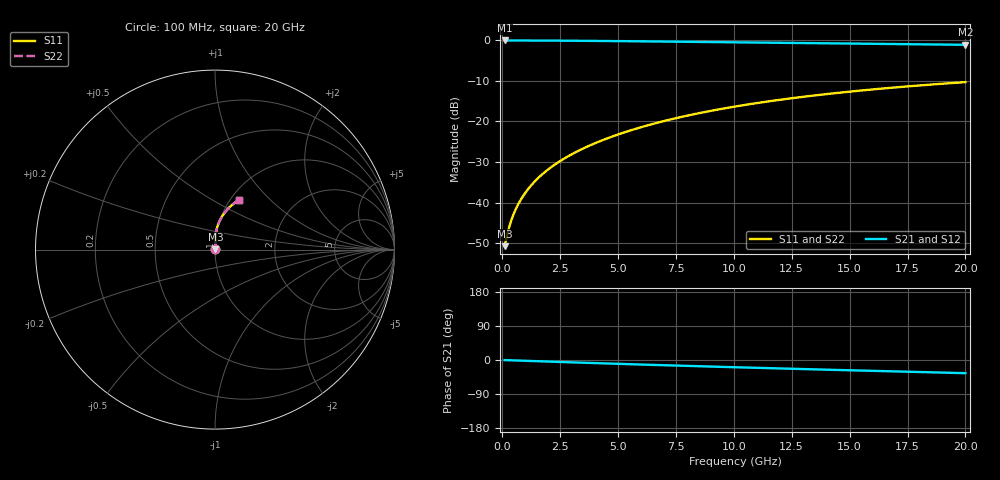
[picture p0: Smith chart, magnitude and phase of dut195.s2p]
! Touchstone file exported from HFSS 2024.1.0
!  File:  C:/UserFiles/LocalFiles/RDL_TSV_Batchsim/temp_RDL_bottom_195_1778699319.aedt
!  Generated:  03:11:25 AM May 14, 2026
!  Design:  RDL_bottom
!  Project:  temp_RDL_bottom_195_1778699319
!  Setup:  Setup1
!  Solution:  Sweep
! Variables:
!  dtsv = 10.80580581um
!  hbump = 3um
!  htsv = 90.23um
!  ldown = 478.81um
!  lrdl = 100um
!  p = 40
!  p1 = 53.72um
!  rhole = 1um
!  t = 450um
!  tdown = 2.82um
!  trdl = 3.915915916um
!  wdown = 27.21um
!  wrdl = 20um
# GHz S MA R 50.000000
! Terminal data exported
! Port[1] = RDL1_T1
! Port[2] = RDL1_T2
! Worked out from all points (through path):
!   200 points, 100 MHz to 20 GHz, reference 50 ohm
!   highest |S21| = -0.02 dB at 100 MHz (marker M1); lowest = -1.1 dB at 20 GHz (marker M2)
!   group delay of S21, straight-line fit = 4.77 ps
!   lowest |S11| = -50.7 dB at 100 MHz (marker M3), VSWR 1.01, Z = 50.3 + j0.147 ohm
!   |S11| at or under -10 dB: start of sweep to end of sweep
!   |S22| runs from -50.7 to -10.3 dB; largest |S21 - S12| = 2e-15
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0.1  0.002906 30.2  0.9975 -0.2  0.9975 -0.2  0.002906 30.2
! Gamma 0 0 0 0
! Port Impedance 50 0 50 0
0.2  0.003887 47.5  0.9973 -0.4  0.9973 -0.4  0.003887 47.5
0.3  0.005023 56.7  0.9971 -0.7  0.9971 -0.7  0.005023 56.7
0.4  0.006185 62.3  0.997 -0.9  0.997 -0.9  0.006185 62.3
0.5  0.007349 66.3  0.9968 -1.1  0.9968 -1.1  0.007349 66.3
0.6  0.008517 69.3  0.9966 -1.3  0.9966 -1.3  0.008517 69.3
0.8  0.01088 73.7  0.9963 -1.7  0.9963 -1.7  0.01088 73.7
1.1  0.0145 77.9  0.9957 -2.3  0.9957 -2.3  0.0145 77.9
1.3  0.01697 79.9  0.9953 -2.7  0.9953 -2.7  0.01697 79.9
1.6  0.02075 82.1  0.9945 -3.4  0.9945 -3.4  0.02075 82.1
2.1  0.02723 84.5  0.993 -4.4  0.993 -4.4  0.02723 84.5
2.7  0.0353 86.3  0.9908 -5.6  0.9908 -5.6  0.0353 86.3
3.5  0.04658 87.6  0.9873 -7.2  0.9873 -7.2  0.04658 87.6
4.2  0.0569 88.0  0.9837 -8.6  0.9837 -8.6  0.0569 88.0
5  0.06919 88.0  0.9791 -10.1  0.9791 -10.1  0.06919 88.0
6.8  0.09826 86.6  0.9679 -13.5  0.9679 -13.5  0.09826 86.6
8.4  0.1251 84.5  0.9574 -16.3  0.9574 -16.3  0.1251 84.4
10.1  0.1537 81.7  0.9462 -19.2  0.9462 -19.2  0.1537 81.7
11.7  0.1804 78.9  0.9356 -21.9  0.9356 -21.9  0.1804 78.9
13.4  0.2081 75.8  0.9245 -24.6  0.9245 -24.6  0.2081 75.8
16.7  0.2591 70.0  0.903 -29.8  0.903 -29.8  0.2591 70.0
20  0.3058 64.4  0.8816 -34.7  0.8816 -34.7  0.3058 64.4
